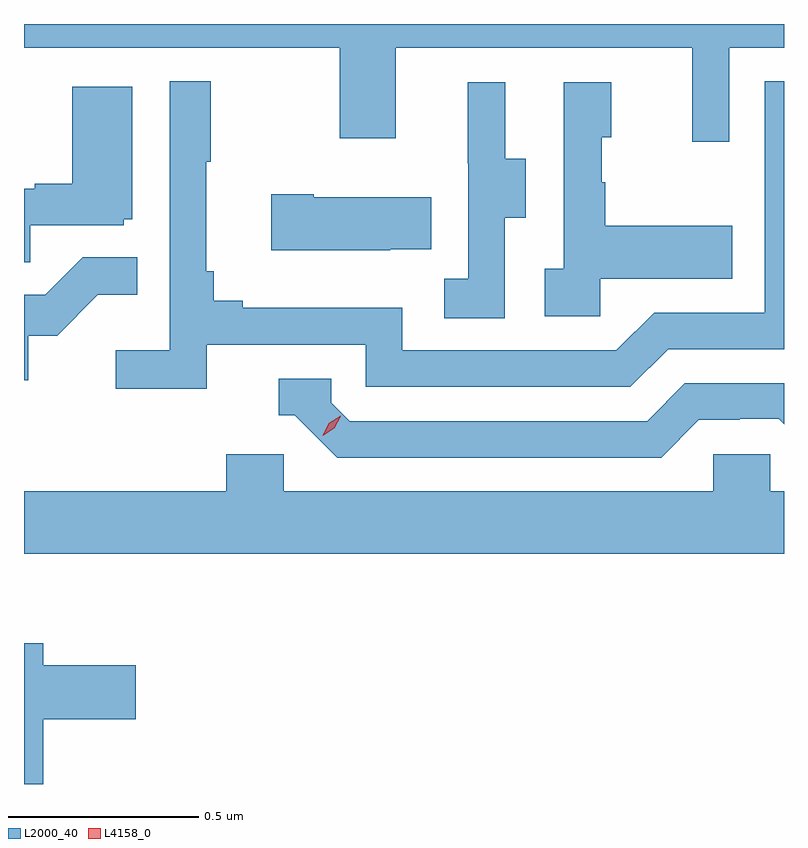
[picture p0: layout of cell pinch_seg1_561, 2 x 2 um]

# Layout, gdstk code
import gdstk
lib = gdstk.Library(unit=1e-6, precision=1e-09)
def P(c, l, *ps):  # polygons
    for p in ps: c.add(gdstk.Polygon(p, *l))
L2000_40 = (2000, 40)
L4158_0 = (4158, 0)

pinch_seg1_561 = lib.new_cell('pinch_seg1_561')
P(pinch_seg1_561, L2000_40, [(1079.715,529.088),(1079.859,529.088),(1079.859,529.15),(1077.859,529.15),(1077.859,529.088),(1078.69,529.088),(1078.69,528.849),(1078.837,528.849),(1078.837,529.088),(1079.618,529.088),(1079.618,528.84),(1079.715,528.84)],
  [(1078.34,528.306),(1078.758,528.306),(1078.758,528.195),(1079.455,528.195),(1079.554,528.294),(1079.859,528.294),(1079.859,528.999),(1079.808,528.999),(1079.808,528.39),(1079.517,528.39),(1079.418,528.291),(1078.854,528.291),(1078.854,528.403),(1078.435,528.403),(1078.435,528.422),(1078.358,528.422),(1078.358,528.499),(1078.339,528.499),(1078.339,528.787),(1078.351,528.787),(1078.351,529),(1078.242,529),(1078.242,528.292),(1078.101,528.292),(1078.101,528.19),(1078.34,528.19)],
  [(1079.376,528.479),(1079.723,528.479),(1079.723,528.619),(1079.389,528.619),(1079.389,528.734),(1079.379,528.734),(1079.379,528.852),(1079.404,528.852),(1079.404,528.997),(1079.28,528.997),(1079.28,528.506),(1079.229,528.506),(1079.229,528.381),(1079.376,528.381)],
  [(1079.124,528.64),(1079.179,528.64),(1079.179,528.795),(1079.125,528.795),(1079.125,528.997),(1079.027,528.997),(1079.027,528.783),(1079.028,528.783),(1079.028,528.479),(1078.965,528.479),(1078.965,528.376),(1079.124,528.376)],
  [(1077.875,528.621),(1078.122,528.621),(1078.122,528.636),(1078.144,528.636),(1078.144,528.985),(1077.986,528.985),(1077.986,528.73),(1077.887,528.73),(1077.887,528.717),(1077.859,528.717),(1077.859,528.523),(1077.875,528.523)],
  [(1078.823,528.557),(1078.931,528.557),(1078.931,528.694),(1078.621,528.694),(1078.621,528.702),(1078.509,528.702),(1078.509,528.554),(1078.823,528.554)],
  [(1077.87,528.33),(1077.946,528.33),(1078.053,528.437),(1078.157,528.437),(1078.157,528.536),(1078.013,528.536),(1077.915,528.438),(1077.859,528.438),(1077.859,528.213),(1077.87,528.213)],
  [(1079.635,528.108),(1079.742,528.108),(1079.742,528.111),(1079.845,528.111),(1079.859,528.097),(1079.859,528.204),(1079.598,528.204),(1079.499,528.105),(1078.716,528.105),(1078.668,528.153),(1078.668,528.216),(1078.529,528.216),(1078.529,528.12),(1078.572,528.12),(1078.683,528.009),(1079.536,528.009)],
  [(1079.859,527.92),(1079.823,527.92),(1079.823,528.018),(1079.673,528.018),(1079.673,527.92),(1078.542,527.92),(1078.542,528.018),(1078.391,528.018),(1078.391,527.92),(1077.859,527.92),(1077.859,527.756),(1079.859,527.756)],
  [(1077.91,527.321),(1078.153,527.321),(1078.153,527.463),(1077.91,527.463),(1077.91,527.521),(1077.859,527.521),(1077.859,527.15),(1077.91,527.15)])
P(pinch_seg1_561, L4158_0, [(1078.645,528.067),(1078.645,528.067),(1078.661,528.1),(1078.692,528.119),(1078.692,528.119),(1078.692,528.118),(1078.676,528.086),(1078.645,528.067)])

lib.write_gds('pinch_seg1_561.gds')
